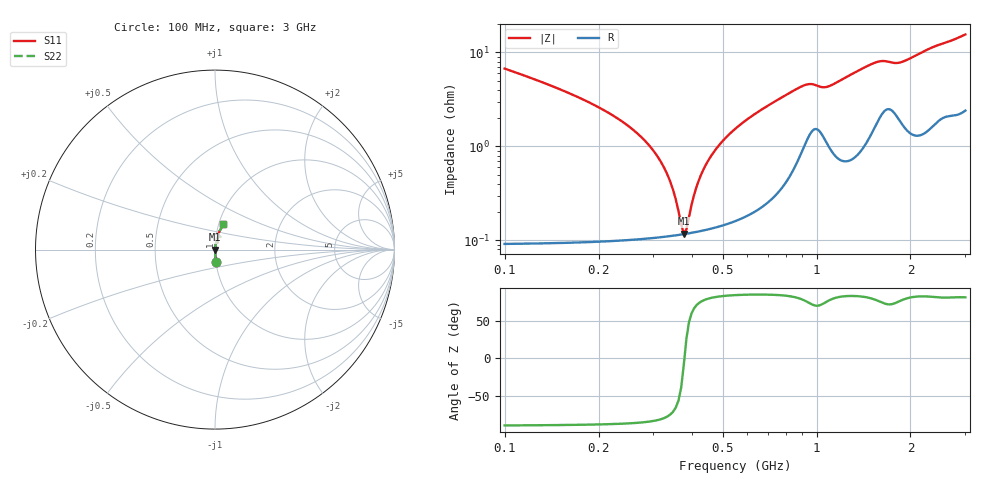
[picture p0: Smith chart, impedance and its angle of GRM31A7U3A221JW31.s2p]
!Murata Part Number: GRM31A7U3A221JW31
!These Parameters are Measured in Series Mode Connection
!Data Generated on Mar 30, 2021
!  o--ll--o
!Port1  Port2
!  o------o
!Operation Temp=25[degC], DC Bias Voltage=0[V]
!Freq. Start=100[MHz] Stop=3[GHz] 401[Steps]
# Hz S RI R 50
!Freq.(Hz) S11(Real) S11(Imag) S21(Real) S21(Imag) S12(Real) S12(Imag) S22(Real) S22(Imag)
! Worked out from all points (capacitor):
!   401 points, 100 MHz to 3 GHz, reference 50 ohm
!   read as one part in series: C = 220 pF near 114.5 MHz
!   lowest |Z| = 118 mohm at 375.5 MHz (marker M1)
!   series resonance near 377 MHz, so ESL is about 810 pH
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1e8  0.00542 -0.0669  0.9946 0.0669  0.9946 0.0669  0.00542 -0.0669
2.3775e8  0.00133 -0.0184  0.9987 0.0184  0.9987 0.0184  0.00133 -0.0184
2.885e8  0.00116 -0.0105  0.9988 0.0105  0.9988 0.0105  0.00116 -0.0105
3.32e8  0.00112 -0.00494  0.9989 0.00494  0.9989 0.00494  0.00112 -0.00494
3.61e8  0.00114 -0.00169  0.9989 0.00169  0.9989 0.00169  0.00114 -0.00169
3.755e8  0.00116 -0.000159  0.9988 0.000159  0.9988 0.000159  0.00116 -0.000159
3.8275e8  0.00118 0.000586  0.9988 -0.000586  0.9988 -0.000586  0.00118 0.000586
3.9e8  0.00119 0.00132  0.9988 -0.00132  0.9988 -0.00132  0.00119 0.00132
4.1175e8  0.00124 0.00344  0.9988 -0.00344  0.9988 -0.00344  0.00124 0.00344
4.2625e8  0.00128 0.00481  0.9987 -0.00481  0.9987 -0.00481  0.00128 0.00481
4.5525e8  0.00138 0.00744  0.9986 -0.00744  0.9986 -0.00744  0.00138 0.00744
5.1325e8  0.00163 0.0124  0.9984 -0.0124  0.9984 -0.0124  0.00163 0.0124
5.8575e8  0.00208 0.0182  0.9979 -0.0182  0.9979 -0.0182  0.00208 0.0182
7.1625e8  0.00352 0.0283  0.9965 -0.0283  0.9965 -0.0283  0.00352 0.0283
8.9025e8  0.00994 0.0415  0.9901 -0.0415  0.9901 -0.0415  0.00994 0.0415
9.555e8  0.0154 0.0428  0.9846 -0.0428  0.9846 -0.0428  0.0154 0.0428
1.0715e9  0.0128 0.0403  0.9872 -0.0403  0.9872 -0.0403  0.0128 0.0403
1.55e9  0.0222 0.0737  0.9778 -0.0737  0.9778 -0.0737  0.0222 0.0737
1.8255e9  0.0247 0.0715  0.9753 -0.0715  0.9753 -0.0715  0.0247 0.0715
2.03575e9  0.0206 0.0856  0.9794 -0.0856  0.9794 -0.0856  0.0206 0.0856
2.5215e9  0.0332 0.1156  0.9668 -0.1156  0.9668 -0.1156  0.0332 0.1156
3e9  0.0449 0.1431  0.9551 -0.1431  0.9551 -0.1431  0.0449 0.1431
